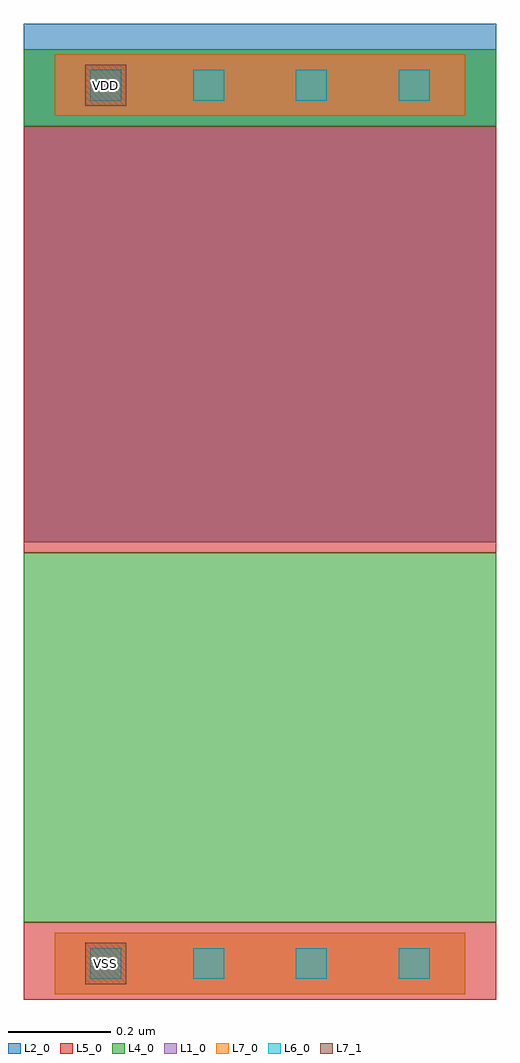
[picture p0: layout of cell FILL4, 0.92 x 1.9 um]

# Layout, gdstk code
import gdstk
lib = gdstk.Library(unit=1e-6, precision=5e-10)
def R(c, l, rs):  # rectangles x0, y0, x1, y1
    for r in rs: c.add(gdstk.rectangle(r[:2], r[2:], *l))
def A(c, l, x, y, w, h, nx, ny, dx, dy):  # array of equal rectangles
    R(c, l, [(x+i*dx, y+j*dy, x+i*dx+w, y+j*dy+h) for i in range(nx) for j in range(ny)])
L1_0 = (1, 0)
L2_0 = (2, 0)
L4_0 = (4, 0)
L5_0 = (5, 0)
L6_0 = (6, 0)
L7_0 = (7, 0)
L7_1 = (7, 1)

fill4 = lib.new_cell('FILL4')
R(fill4, L1_0, [(0,-0.06,0.8,0.06), (0,1.65,0.8,1.77)])
R(fill4, L2_0, [(-0.06,0.82,0.86,1.83)])
R(fill4, L4_0, [(-0.06,0.08,0.86,0.8), (-0.06,1.63,0.86,1.78)])
R(fill4, L5_0, [(-0.06,-0.07,0.86,0.08), (-0.06,0.8,0.86,1.63)])
A(fill4, L6_0, 0.07, -0.03, 0.06, 0.06, 4, 2, 0.2, 1.71)
R(fill4, L7_0, [(0,-0.06,0.8,0.06), (0,1.65,0.8,1.77)])
R(fill4, L7_1, [(0.06,-0.04,0.14,0.04), (0.06,1.67,0.14,1.75)])
fill4.add(gdstk.Label('VSS', (0.1,0), layer=7, texttype=1))
fill4.add(gdstk.Label('VDD', (0.1,1.71), layer=7, texttype=1))
fill4.add(gdstk.Label('VDD', (0.09,1.7), layer=63, texttype=0))
fill4.add(gdstk.Label('VSS', (0.085,0), layer=63, texttype=0))

lib.write_gds('FILL4.gds')
